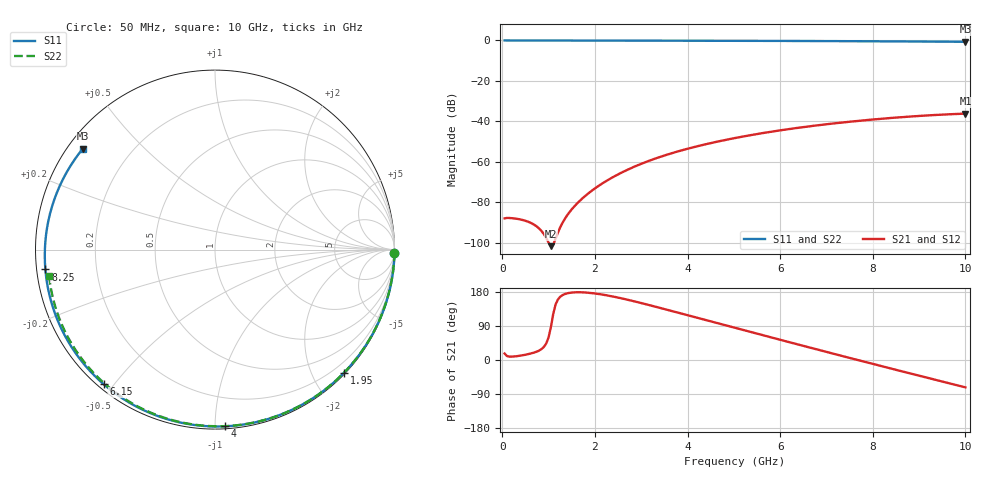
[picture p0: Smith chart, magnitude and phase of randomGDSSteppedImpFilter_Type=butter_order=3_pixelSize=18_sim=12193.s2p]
! freq	dB(S11)	phase(S11)	dB(S12)	phase(S12)
!  dB(S21)	phase(S21)	dB(S22)	phase(S22)
!S-par simulation data
#  GHz  S  DB  R 50
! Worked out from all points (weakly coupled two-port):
!   200 points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, 50 MHz to 10 GHz, reference 50 ohm
!   highest |S21| = -36.13 dB at 10 GHz (marker M1); lowest = -101.6 dB at 1.05 GHz (marker M2)
!   lowest |S11| = -0.7 dB at 10 GHz (marker M3), VSWR 26.28, Z = 2.12 + j16.9 ohm
!   |S11| at or under -10 dB: nowhere
!   |S22| runs from -0.6 to 0.0 dB; largest |S21 - S12| = 0
!   S11 on the Smith chart (normalised r, x): 50 MHz: open; 1.95 GHz: 0.02, -2.49; 4 GHz: 0.01, -1.06; 6.15 GHz: 0.02, -0.47; 8.25 GHz: 0.02, -0.06; 10 GHz: 0.04, +0.34
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0.05  -0.00 -1.1  -87.86 17.1  -87.86 17.1  -0.00 -1.0
0.55  -0.01 -12.5  -89.45 15.2  -89.45 15.2  -0.01 -10.5
1.05  -0.03 -23.8  -101.59 87.2  -101.59 87.2  -0.02 -20.1
1.6  -0.05 -36.1  -80.85 178.8  -80.85 178.8  -0.04 -30.4
1.65  -0.05 -37.2  -79.70 178.8  -79.70 178.8  -0.04 -31.3
1.75  -0.05 -39.4  -77.58 178.5  -77.58 178.5  -0.04 -33.2
1.95  -0.06 -43.7  -73.90 176.3  -73.90 176.3  -0.05 -36.9
2.25  -0.06 -50.3  -69.34 170.8  -69.34 170.8  -0.05 -42.4
2.6  -0.07 -57.8  -64.98 162.0  -64.98 162.0  -0.06 -48.7
3  -0.09 -66.2  -60.91 150.3  -60.91 150.3  -0.07 -55.9
3.4  -0.10 -74.6  -57.56 137.7  -57.56 137.7  -0.08 -62.9
4  -0.12 -86.9  -53.48 118.2  -53.48 118.2  -0.10 -73.3
4.5  -0.14 -96.9  -50.69 102.0  -50.69 102.0  -0.12 -81.8
5.05  -0.17 -107.9  -48.07 84.1  -48.07 84.1  -0.14 -90.9
6.15  -0.24 -129.6  -43.89 48.5  -43.89 48.5  -0.20 -108.7
6.7  -0.28 -140.6  -42.20 30.9  -42.20 30.9  -0.23 -117.4
7.5  -0.35 -157.1  -40.14 5.5  -40.14 5.5  -0.29 -130.0
8.25  -0.43 -173.3  -38.55 -18.1  -38.55 -18.1  -0.36 -141.9
8.35  -0.44 -175.6  -38.36 -21.2  -38.36 -21.2  -0.37 -143.5
9.2  -0.55 164.1  -37.00 -47.6  -37.00 -47.6  -0.47 -157.3
9.6  -0.61 153.7  -36.51 -60.0  -36.51 -60.0  -0.52 -164.0
10  -0.66 142.7  -36.13 -72.2  -36.13 -72.2  -0.58 -170.9
